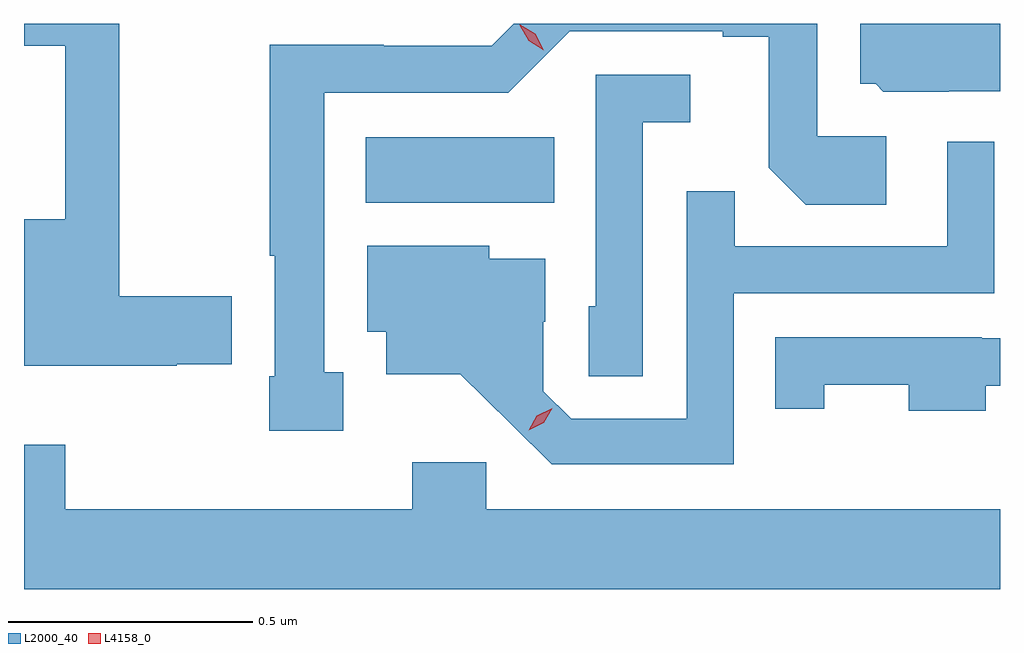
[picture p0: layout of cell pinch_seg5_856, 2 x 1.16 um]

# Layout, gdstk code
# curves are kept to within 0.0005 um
import gdstk
lib = gdstk.Library(unit=1e-6, precision=1e-09)
def R(c, l, rs):  # rectangles x0, y0, x1, y1
    for r in rs: c.add(gdstk.rectangle(r[:2], r[2:], *l))
def P(c, l, *ps):  # polygons
    for p in ps: c.add(gdstk.Polygon(p, *l))
L2000_40 = (2000, 40)
L4158_0 = (4158, 0)

pinch_seg5_856 = lib.new_cell('pinch_seg5_856')
R(pinch_seg5_856, L2000_40, [(760.079,877.532,760.466,877.666)])
P(pinch_seg5_856, L2000_40, [(759.692,877.201),(759.805,877.201),(759.805,877.34),(759.574,877.34),(759.574,877.899),(759.379,877.899),(759.379,877.854),(759.464,877.854),(759.464,877.498),(759.379,877.498),(759.379,877.198),(759.692,877.198)],
  [(761.274,877.761),(761.379,877.761),(761.379,877.899),(761.093,877.899),(761.093,877.776),(761.124,877.776),(761.14,877.76),(761.274,877.76)],
  [(760.033,877.185),(759.994,877.185),(759.994,877.758),(760.371,877.758),(760.497,877.884),(760.811,877.884),(760.811,877.872),(760.905,877.872),(760.905,877.604),(760.981,877.528),(761.146,877.528),(761.146,877.668),(761.004,877.668),(761.004,877.899),(760.383,877.899),(760.338,877.854),(760.116,877.854),(760.116,877.856),(759.883,877.856),(759.883,877.423),(759.893,877.423),(759.893,877.177),(759.882,877.177),(759.882,877.065),(760.033,877.065)],
  [(760.647,877.697),(760.744,877.697),(760.744,877.794),(760.551,877.794),(760.551,877.32),(760.536,877.32),(760.536,877.177),(760.647,877.177)],
  [(760.833,877.347),(761.367,877.347),(761.367,877.657),(761.271,877.657),(761.271,877.443),(760.835,877.443),(760.835,877.556),(760.737,877.556),(760.737,877.089),(760.5,877.089),(760.443,877.146),(760.443,877.288),(760.447,877.288),(760.447,877.417),(760.332,877.417),(760.332,877.444),(760.082,877.444),(760.082,877.268),(760.121,877.268),(760.121,877.181),(760.273,877.181),(760.46,876.996),(760.833,876.996)],
  [(761.35,877.157),(761.379,877.157),(761.379,877.254),(761.342,877.254),(761.342,877.257),(760.918,877.257),(760.918,877.11),(761.019,877.11),(761.019,877.159),(761.192,877.159),(761.192,877.106),(761.35,877.106)],
  [(761.379,876.904),(760.326,876.904),(760.326,877),(760.175,877),(760.175,876.904),(759.464,876.904),(759.464,877.036),(759.379,877.036),(759.379,876.74),(761.379,876.74)])
P(pinch_seg5_856, L4158_0, [(760.413,877.066),(760.413,877.066),(760.43,877.096),(760.461,877.111),(760.461,877.111),(760.461,877.111),(760.444,877.081),(760.413,877.066)],
  [(760.444,877.845),(760.413,877.864),(760.395,877.896),(760.395,877.897),(760.396,877.897),(760.427,877.878),(760.444,877.845),(760.444,877.845)])

lib.write_gds('pinch_seg5_856.gds')
